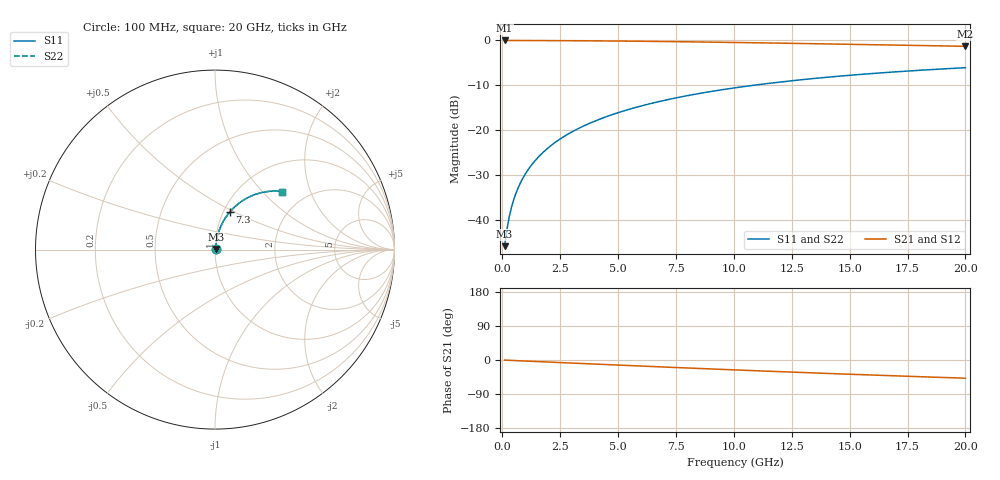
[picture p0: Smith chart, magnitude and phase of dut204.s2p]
! Touchstone file exported from HFSS 2026.1.0
!  File:  C:/ffzhzh/LocalFiles/Ansys_Project_Files/temp_train_TMRDL_204_1782984046_6248.aedt
!  Generated:  05:21:59 PM Jul  2, 2026
!  Design:  TMRDL
!  Project:  temp_train_TMRDL_204_1782984046_6248
! Variables:
!  h_bsmrdl = 2um
!  h_ox = 20um
!  h_rdl = 5um
!  h_sub = 80um
!  h_tmrdl = 3.1um
!  h_tsv = 80um
!  h_via = 3um
!  l_bsmrdl = 300um
!  l_sub = 1056.55um
!  l_tmrdl = 656.55um
!  m_sub = 200um
!  pitch = 59.69um
!  r_tsv = 6um
!  s_tmrdl = 10um
!  w_bsmrdl = 18um
!  w_sub = 500um
!  w_tmrdl = 20.69um
!  x_tsv_center1 = 666.895um
!  x_tsv_center2 = 984.895um
!  x_tsv_center3 = 1662.135um
!  x_tsv_center4 = 1980.135um
!  x_tsv_center5 = 2657.375um
!  x_tsv_center6 = 2975.375um
# GHz S MA R 50.000000
! Terminal data exported
! Port[1] = TM_RDL1_1_T1
! Port[2] = TM_RDL1_1_T2
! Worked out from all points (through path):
!   200 points, 100 MHz to 20 GHz, reference 50 ohm
!   highest |S21| = -0.03 dB at 100 MHz (marker M1); lowest = -1.3 dB at 20 GHz (marker M2)
!   group delay of S21, straight-line fit = 6.69 ps
!   lowest |S11| = -45.8 dB at 100 MHz (marker M3), VSWR 1.01, Z = 50.4 + j0.343 ohm
!   |S11| at or under -10 dB: start of sweep to 10.86 GHz
!   |S22| runs from -45.8 to -6.1 dB; largest |S21 - S12| = 3.4e-15
!   S11 on the Smith chart (normalised r, x): 100 MHz: 1.01, +0.01; 7.3 GHz: 1.07, +0.47; 20 GHz: 1.52, +1.31
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0.1  0.005122 41.6  0.9962 -0.3  0.9962 -0.3  0.005122 41.6
! Gamma 0 0 0 0
! Port Impedance 50 0 50 0
0.2  0.007846 59.4  0.996 -0.6  0.996 -0.6  0.007846 59.4
0.3  0.01088 67.1  0.9959 -0.8  0.9959 -0.8  0.01088 67.1
0.4  0.01399 71.3  0.9957 -1.1  0.9957 -1.1  0.01399 71.3
0.5  0.0171 73.9  0.9955 -1.4  0.9955 -1.4  0.0171 73.9
0.6  0.02021 75.6  0.9954 -1.7  0.9954 -1.7  0.02021 75.6
0.8  0.02646 77.8  0.9951 -2.2  0.9951 -2.2  0.02646 77.8
1.1  0.03586 79.4  0.9947 -3.0  0.9947 -3.0  0.03586 79.4
1.5  0.04845 80.1  0.994 -4.1  0.994 -4.1  0.04845 80.1
1.8  0.05789 80.2  0.9934 -4.9  0.9934 -4.9  0.05789 80.2
2.1  0.06733 80.0  0.9927 -5.7  0.9927 -5.7  0.06733 80.0
2.7  0.08613 79.2  0.9911 -7.3  0.9911 -7.3  0.08613 79.2
3.5  0.111 77.7  0.9883 -9.5  0.9883 -9.5  0.111 77.7
4.2  0.1324 76.1  0.9853 -11.3  0.9853 -11.3  0.1324 76.1
5  0.1566 74.3  0.9814 -13.4  0.9814 -13.4  0.1566 74.3
6.8  0.209 70.0  0.9708 -18.1  0.9708 -18.1  0.209 69.9
7.3  0.2231 68.7  0.9674 -19.4  0.9674 -19.4  0.2231 68.7
8.6  0.2586 65.6  0.958 -22.6  0.958 -22.6  0.2586 65.6
10.1  0.2975 62.0  0.946 -26.3  0.946 -26.3  0.2975 62.0
13.4  0.3747 54.5  0.9173 -34.0  0.9173 -34.0  0.3747 54.5
16.7  0.4407 47.4  0.8872 -41.3  0.8872 -41.3  0.4407 47.4
20  0.4956 40.8  0.8577 -48.0  0.8577 -48.0  0.4956 40.7
